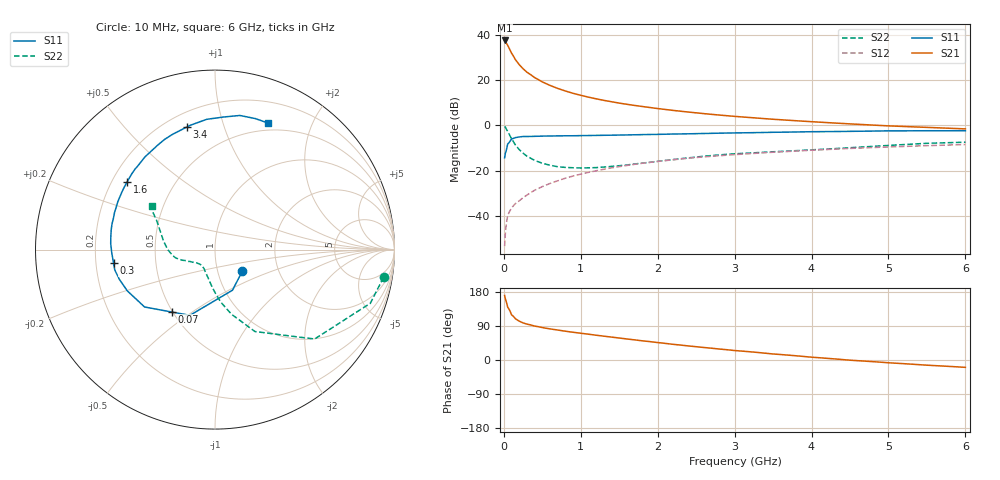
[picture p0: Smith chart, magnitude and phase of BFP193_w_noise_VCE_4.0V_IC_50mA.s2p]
! (c) 2017  Infineon Technologies AG, Munich
! Infineon Technologies  Discrete & RF Semiconductors
! BFP193
! VCE =  4.0 V,  IC =  50 mA
! Common Emitter S-Parameters:  Jan 2017
# GHz  S  MA  R  50
!  f  S11  S21  S12  S22
! GHz  MAG  ANG  MAG  ANG  MAG  ANG  MAG  ANG
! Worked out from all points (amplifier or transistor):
!   77 points, 10 MHz to 6 GHz, reference 50 ohm
!   highest |S21| = 37.4 dB at 10 MHz (marker M1)
!   |S21| within 3 dB of that: start of sweep to 63.1 MHz
!   unconditionally stable (mu >= 1): 552.5 MHz to 2.392 GHz
!   at 130 MHz: K = 0.62, MSG = 32.7 dB, |S12| = -35.1 dB
!   at 2.2 GHz: K = 1.01, MAG = 10.4 dB, |S12| = -15.1 dB
!   at 6 GHz: K = 0.93, MSG = 3.4 dB, |S12| = -8.4 dB
!   lowest NFmin = 1.52 dB at 450 MHz
!   S11 on the Smith chart (normalised r, x): 10 MHz: 1.31, -0.33; 70 MHz: 0.49, -0.42; 300 MHz: 0.27, -0.06; 1.6 GHz: 0.26, +0.32; 3.4 GHz: 0.28, +0.75; 6 GHz: 0.42, +1.42
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0.01  0.1941 -38.5  74.15 170.3  0.0022 73.8  0.9519 -9.3
0.02  0.2464 -66.7  72.08 161.4  0.0043 76.4  0.9155 -19.1
0.05  0.3921 -110.9  58 139.4  0.0104 66.1  0.7456 -41.9
0.07  0.423 -124.7  49.73 133.2  0.0123 62.8  0.6402 -48.8
0.1  0.5061 -140.8  38.99 119.2  0.0152 59.4  0.5079 -64.0
0.15  0.5397 -154.7  28.1 108.9  0.019 58.3  0.3718 -75.7
0.2  0.5577 -162.6  21.78 102.5  0.0219 60.5  0.2943 -83.7
0.25  0.5698 -168.5  17.68 97.9  0.0257 63.0  0.2452 -89.2
0.3  0.5702 -172.3  14.85 94.7  0.0293 64.5  0.2105 -94.2
0.4  0.5756 -178.3  11.3 89.5  0.0374 67.3  0.1696 -101.9
0.5  0.582 176.7  9.071 85.6  0.0449 67.9  0.1472 -108.4
0.6  0.5851 172.7  7.604 82.1  0.0528 68.3  0.1332 -114.4
0.7  0.5886 169.3  6.526 79.1  0.0604 69.0  0.1232 -119.3
0.8  0.5914 166.0  5.726 76.0  0.0691 69.0  0.1191 -123.3
1.1  0.5991 156.7  4.193 68.1  0.0926 66.2  0.1166 -134.5
1.6  0.6178 142.6  2.917 55.5  0.1316 60.7  0.1349 -147.8
2.1  0.6404 129.7  2.245 43.8  0.1684 54.4  0.1695 -158.1
3.1  0.6873 108.5  1.536 23.4  0.2333 41.4  0.2421 -173.6
3.4  0.7005 103.1  1.407 17.9  0.2509 37.9  0.2576 -178.4
4.1  0.729 92.1  1.181 6.0  0.2897 29.5  0.2959 168.7
5.1  0.76 78.2  0.963 -8.5  0.3403 17.9  0.3708 152.6
6  0.7645 67.2  0.839 -19.4  0.3798 7.8  0.4274 145.0
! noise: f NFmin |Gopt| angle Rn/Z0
0.45  1.52  0.43  -170  0.08
0.9  1.57  0.45  -164  0.09
1.9  2.2  0.61  -132  0.23
2.4  2.55  0.64  -119  0.48
